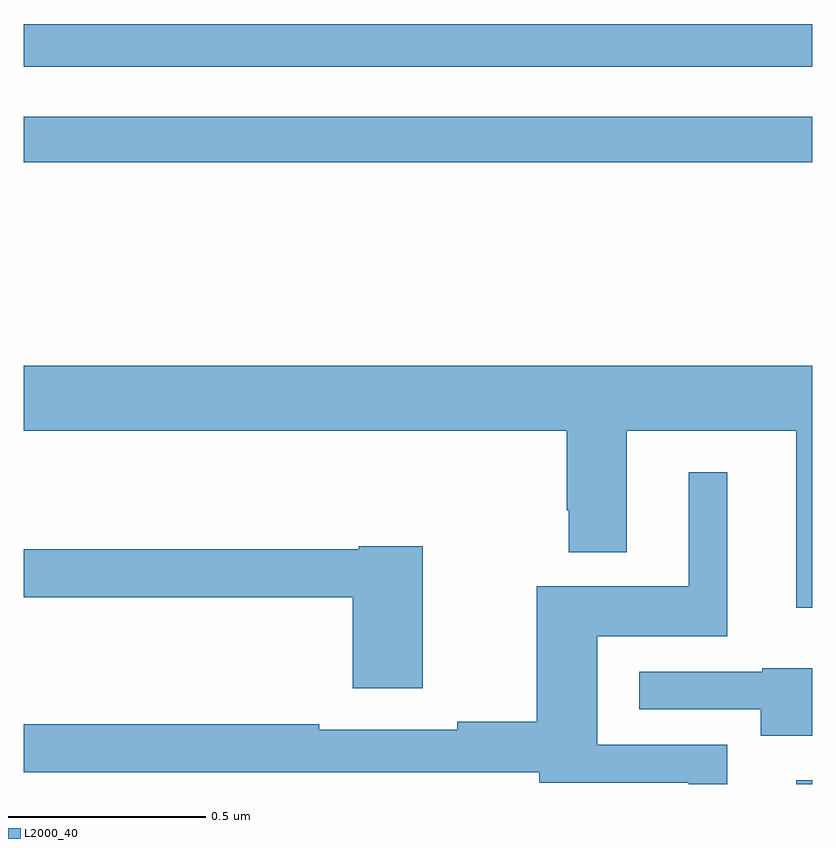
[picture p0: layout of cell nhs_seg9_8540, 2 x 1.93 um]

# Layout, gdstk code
import gdstk
lib = gdstk.Library(unit=1e-6, precision=1e-09)
def R(c, l, rs):  # rectangles x0, y0, x1, y1
    for r in rs: c.add(gdstk.rectangle(r[:2], r[2:], *l))
def P(c, l, *ps):  # polygons
    for p in ps: c.add(gdstk.Polygon(p, *l))
L2000_40 = (2000, 40)

nhs_seg9_8540 = lib.new_cell('nhs_seg9_8540')
R(nhs_seg9_8540, L2000_40, [(219.959,1219.5,220,1219.51), (218,1221.076,220,1221.192), (218,1221.318,220,1221.427)])
P(nhs_seg9_8540, L2000_40, [(220,1220.56),(218,1220.56),(218,1220.396),(219.377,1220.396),(219.377,1220.194),(219.382,1220.194),(219.382,1220.087),(219.529,1220.087),(219.529,1220.396),(219.959,1220.396),(219.959,1219.947),(220,1219.947)],
  [(219.784,1219.599),(219.454,1219.599),(219.454,1219.874),(219.784,1219.874),(219.784,1220.29),(219.686,1220.29),(219.686,1220.002),(219.301,1220.002),(219.301,1219.658),(219.1,1219.658),(219.1,1219.638),(218.75,1219.638),(218.75,1219.651),(218,1219.651),(218,1219.53),(219.308,1219.53),(219.308,1219.503),(219.686,1219.503),(219.686,1219.5),(219.784,1219.5)],
  [(219.012,1220.103),(218.85,1220.103),(218.85,1220.095),(218,1220.095),(218,1219.974),(218.834,1219.974),(218.834,1219.743),(219.012,1219.743)],
  [(220,1219.793),(219.873,1219.793),(219.873,1219.785),(219.561,1219.785),(219.561,1219.689),(219.869,1219.689),(219.869,1219.622),(220,1219.622)])

lib.write_gds('nhs_seg9_8540.gds')
